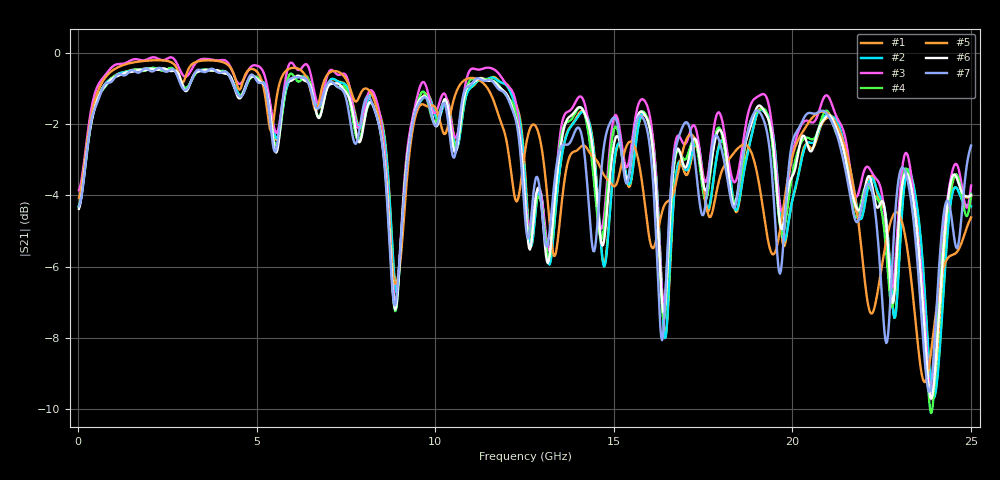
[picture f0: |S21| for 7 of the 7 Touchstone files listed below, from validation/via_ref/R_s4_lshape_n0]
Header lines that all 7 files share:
# Hz S RI R 50
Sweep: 25 MHz to 25 GHz
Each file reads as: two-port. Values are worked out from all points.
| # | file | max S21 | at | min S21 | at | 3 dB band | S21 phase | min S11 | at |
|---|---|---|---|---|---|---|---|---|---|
| 1 | cst.s2p | -0.43 dB | 2.3 GHz | -9.6 dB | 23.95 GHz | 175 MHz-8.675 GHz | 52 deg at 12.53 GHz | -31.2 dB | 5.925 GHz |
| 2 | cst_fine.s2p | -0.43 dB | 2.325 GHz | -9.7 dB | 23.95 GHz | 175 MHz-8.675 GHz | 52 deg at 12.53 GHz | -35.2 dB | 3.2 GHz |
| 3 | deembedded.s2p | -0.12 dB | 2.1 GHz | -9.7 dB | 23.88 GHz | 175 MHz-8.6 GHz | -79 deg at 12.53 GHz | -70.0 dB | 2.5 GHz |
| 4 | kisi.s2p | -0.42 dB | 2.1 GHz | -10.1 dB | 23.88 GHz | 200 MHz-8.6 GHz | 57 deg at 12.53 GHz | -38.8 dB | 5.925 GHz |
| 5 | ladder_grid.s2p | -0.21 dB | 2.225 GHz | -9.2 dB | 23.7 GHz | 175 MHz-8.6 GHz | -57 deg at 12.53 GHz | -60.5 dB | 3.375 GHz |
| 6 | openems.s2p | -0.44 dB | 2.4 GHz | -9.7 dB | 23.88 GHz | 175 MHz-8.6 GHz | 54 deg at 12.53 GHz | -35.8 dB | 3.325 GHz |
| 7 | openems_base.s2p | -0.42 dB | 2.275 GHz | -9.5 dB | 23.82 GHz | 200 MHz-8.575 GHz | 52 deg at 12.53 GHz | -35.0 dB | 3.55 GHz |
